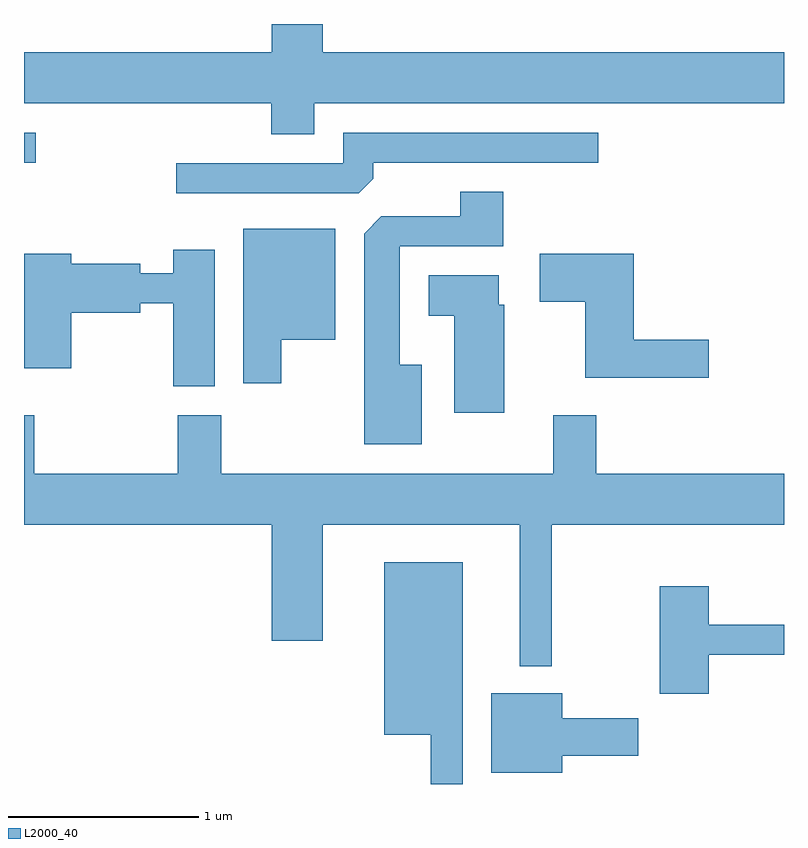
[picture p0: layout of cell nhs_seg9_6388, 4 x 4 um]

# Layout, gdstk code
import gdstk
lib = gdstk.Library(unit=1e-6, precision=1e-09)
def R(c, l, rs):  # rectangles x0, y0, x1, y1
    for r in rs: c.add(gdstk.rectangle(r[:2], r[2:], *l))
def P(c, l, *ps):  # polygons
    for p in ps: c.add(gdstk.Polygon(p, *l))
L2000_40 = (2000, 40)

nhs_seg9_6388 = lib.new_cell('nhs_seg9_6388')
R(nhs_seg9_6388, L2000_40, [(373.611,2013.701,373.673,2013.859)])
P(nhs_seg9_6388, L2000_40, [(375.139,2014.016),(377.611,2014.016),(377.611,2014.284),(375.184,2014.284),(375.184,2014.432),(374.916,2014.432),(374.916,2014.284),(373.611,2014.284),(373.611,2014.016),(374.911,2014.016),(374.911,2013.851),(375.139,2013.851)],
  [(375.449,2013.617),(375.449,2013.701),(376.633,2013.701),(376.633,2013.859),(375.291,2013.859),(375.291,2013.699),(374.413,2013.699),(374.413,2013.541),(375.374,2013.541)],
  [(375.704,2012.639),(375.589,2012.639),(375.589,2013.261),(376.134,2013.261),(376.134,2013.549),(375.906,2013.549),(375.906,2013.419),(375.492,2013.419),(375.401,2013.329),(375.401,2012.221),(375.704,2012.221)],
  [(374.964,2012.771),(375.249,2012.771),(375.249,2013.354),(374.766,2013.354),(374.766,2012.541),(374.964,2012.541)],
  [(374.614,2013.244),(374.396,2013.244),(374.396,2013.119),(374.224,2013.119),(374.224,2013.169),(373.859,2013.169),(373.859,2013.224),(373.611,2013.224),(373.611,2012.621),(373.859,2012.621),(373.859,2012.911),(374.224,2012.911),(374.224,2012.961),(374.396,2012.961),(374.396,2012.526),(374.614,2012.526)],
  [(377.214,2012.769),(376.819,2012.769),(376.819,2013.224),(376.326,2013.224),(376.326,2012.971),(376.566,2012.971),(376.566,2012.571),(377.214,2012.571)],
  [(376.139,2012.954),(376.109,2012.954),(376.109,2013.109),(375.741,2013.109),(375.741,2012.896),(375.876,2012.896),(375.876,2012.386),(376.139,2012.386)],
  [(376.389,2011.796),(377.611,2011.796),(377.611,2012.064),(376.624,2012.064),(376.624,2012.374),(376.396,2012.374),(376.396,2012.064),(374.649,2012.064),(374.649,2012.374),(374.421,2012.374),(374.421,2012.064),(373.664,2012.064),(373.664,2012.374),(373.611,2012.374),(373.611,2011.796),(374.916,2011.796),(374.916,2011.186),(375.184,2011.186),(375.184,2011.796),(376.221,2011.796),(376.221,2011.053),(376.389,2011.053)],
  [(375.919,2011.599),(375.506,2011.599),(375.506,2010.691),(375.751,2010.691),(375.751,2010.432),(375.919,2010.432)],
  [(377.214,2011.111),(377.611,2011.111),(377.611,2011.269),(377.214,2011.269),(377.214,2011.474),(376.956,2011.474),(376.956,2010.906),(377.214,2010.906)],
  [(376.444,2010.581),(376.844,2010.581),(376.844,2010.779),(376.444,2010.779),(376.444,2010.909),(376.071,2010.909),(376.071,2010.491),(376.444,2010.491)])

lib.write_gds('nhs_seg9_6388.gds')
